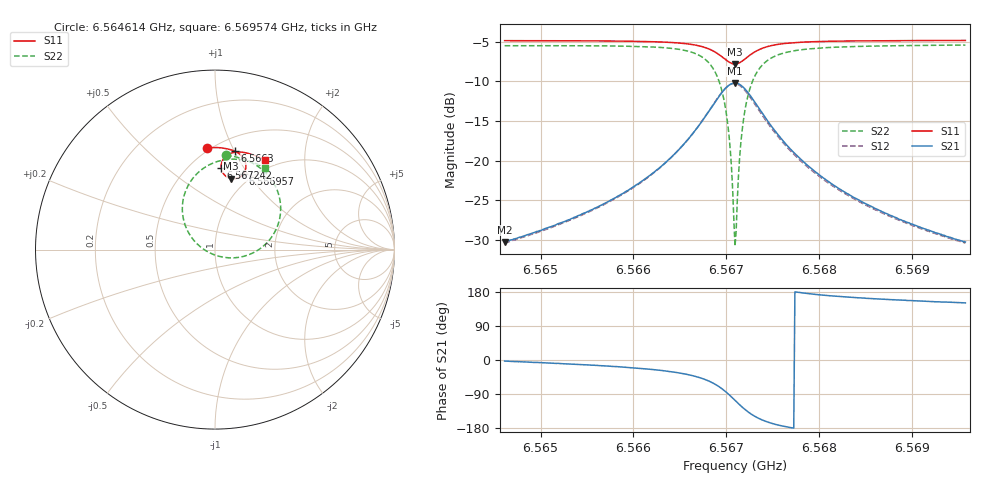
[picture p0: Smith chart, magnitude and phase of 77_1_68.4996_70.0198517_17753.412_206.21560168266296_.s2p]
#  HZ  S  RI  R  50.00
! Rohde & Schwarz Vector Network Analyzer
! Rohde-Schwarz,ZNB20-2Port,1311601062101988,3.16
! Created: UTC 3/20/2024, 4:51:59 PM
! freq[Hz]  re:S11  im:S11  re:S21  im:S21  re:S12  im:S12  re:S22  im:S22
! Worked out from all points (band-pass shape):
!   401 points, 6.564614 GHz to 6.569574 GHz, reference 50 ohm
!   highest |S21| = -10.23 dB at 6.567094 GHz (marker M1); lowest = -30.3 dB at 6.564614 GHz (marker M2)
!   |S21| within 3 dB of the highest: 6.566845 GHz to 6.567341 GHz (496.7 kHz wide, 0.00756 % of centre)
!   lowest |S11| = -7.8 dB at 6.567094 GHz (marker M3), VSWR 2.36, Z = 42.2 + j40 ohm
!   |S11| at or under -10 dB: nowhere
!   |S22| runs from -30.8 to -5.4 dB; largest |S21 - S12| = 0.016
!   S11 on the Smith chart (normalised r, x): 6.564614 GHz: 0.48, +0.81; 6.5663 GHz: 0.63, +1.01; 6.566957 GHz: 0.90, +0.95; 6.567242 GHz: 0.70, +0.80; 6.569574 GHz: 0.88, +1.30
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6.5646136e9  -0.0421 0.5678  0.0307 -0.00154  0.0302 -0.00202  0.061 0.5256
6.5654444e9  0.0274 0.5674  0.0451 -0.00976  0.0442 -0.0102  0.1439 0.5087
6.5662752e9  0.1089 0.5486  0.0798 -0.0405  0.0788 -0.0415  0.2651 0.4437
6.5663e9  0.1118 0.5473  0.0817 -0.0426  0.0805 -0.0437  0.27 0.4394
6.5665728e9  0.1456 0.5246  0.1049 -0.0815  0.1034 -0.0831  0.3314 0.3631
6.5667588e9  0.1679 0.4904  0.1174 -0.1416  0.1146 -0.1447  0.3654 0.2468
6.5668704e9  0.1717 0.455  0.1053 -0.2039  0.0998 -0.2082  0.3468 0.1276
6.5669572e9  0.1571 0.4206  0.0629 -0.2629  0.0531 -0.2665  0.2676 0.0177
6.5670192e9  0.1312 0.4004  0.00431 -0.2951  -0.00879 -0.2958  0.1584 -0.0379
6.567044e9  0.1174 0.3958  -0.0248 -0.3013  -0.0388 -0.2994  0.1048 -0.0459
6.5670812e9  0.0949 0.3947  -0.0716 -0.2994  -0.0855 -0.2936  0.0211 -0.0368
6.5670936e9  0.0874 0.3961  -0.087 -0.2955  -0.1007 -0.2886  -0.00611 -0.0283
6.5671184e9  0.073 0.401  -0.1163 -0.2836  -0.1287 -0.2743  -0.0562 -0.00278
6.5671432e9  0.0604 0.4091  -0.1421 -0.2665  -0.1529 -0.2553  -0.099 0.0313
6.567168e9  0.0501 0.4193  -0.1633 -0.2457  -0.1719 -0.2331  -0.1331 0.0712
6.5672052e9  0.0395 0.4368  -0.1856 -0.2107  -0.191 -0.1974  -0.1662 0.136
6.5672424e9  0.0347 0.4547  -0.1975 -0.1753  -0.1998 -0.1625  -0.1806 0.1992
6.5673416e9  0.041 0.4945  -0.1945 -0.0984  -0.1921 -0.0887  -0.1612 0.3328
6.5674904e9  0.0685 0.5264  -0.1593 -0.0359  -0.1557 -0.0308  -0.0854 0.4368
6.5679244e9  0.1364 0.5437  -0.0876 0.00917  -0.0854 0.0105  0.0713 0.5025
6.5687552e9  0.2178 0.5259  -0.0426 0.0158  -0.0416 0.0162  0.2036 0.4875
6.5695736e9  0.2804 0.4976  -0.0268 0.015  -0.0261 0.0151  0.2804 0.4548
